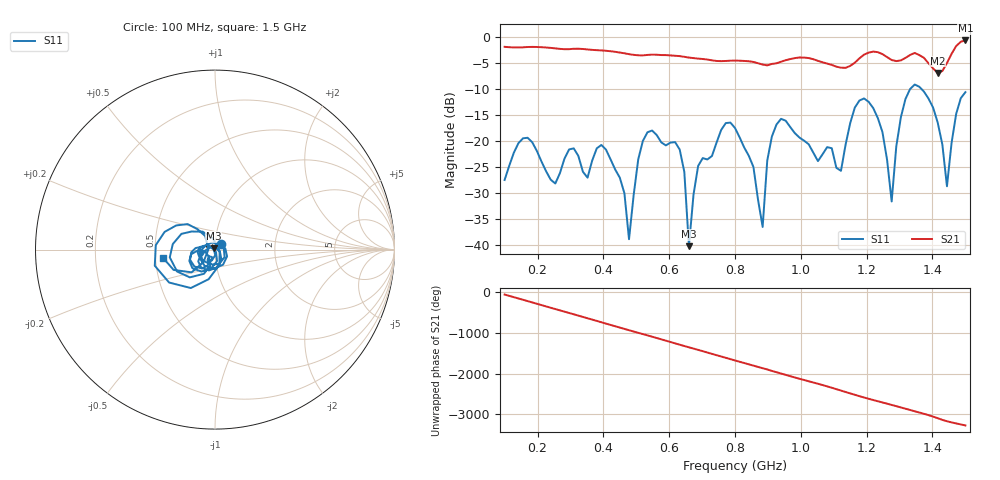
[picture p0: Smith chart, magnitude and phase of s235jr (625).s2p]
! NanoVNA-App
! Date: 2025-09-25 15:09:02
! Start: 100MHz Stop: 1,5GHz Points: 101
! S-Parameter data: F S11 S21 S12 S22
# Hz S RI R 50
!  Frequency  S11_Real  S11_Imag  S21_Real  S21_Imag  S12_Real  S12_Imag  S22_Real  S22_Imag
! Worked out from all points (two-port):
!   101 points, 100 MHz to 1.5 GHz, reference 50 ohm
!   highest |S21| = -0.74 dB at 1.5 GHz (marker M1); lowest = -7.0 dB at 1.416 GHz (marker M2)
!   |S21| within 3 dB of the highest: start of sweep to 632.3 MHz; 1.186 GHz to 1.257 GHz (70.95 MHz wide, 5.81 % of centre) (the widest 2 of 4)
!   lowest |S11| = -40.1 dB at 660 MHz (marker M3), VSWR 1.02, Z = 49.3 + j0.638 ohm
!   |S11| at or under -10 dB: start of sweep to 1.333 GHz; 1.366 GHz to end of sweep
!   S12 and S22 are empty: the file has one direction only
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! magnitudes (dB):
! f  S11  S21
! 100 MHz  -27.5  -2.0
! 170 MHz  -19.4  -2.0
! 338 MHz  -25.9  -2.4
! 408 MHz  -21.6  -2.7
! 478 MHz  -38.8  -3.4
! 520 MHz  -20.0  -3.6
! 576 MHz  -20.3  -3.5
! 632 MHz  -21.6  -3.7
! 660 MHz  -40.1  -4.0
! 688 MHz  -24.8  -4.2
! 800 MHz  -17.5  -4.6
! 884 MHz  -36.5  -5.4
! 926 MHz  -16.9  -5.1
! 1.038 GHz  -22.2  -4.3
! 1.122 GHz  -25.7  -6.0
! 1.192 GHz  -11.8  -3.5
! 1.248 GHz  -18.3  -3.4
! 1.276 GHz  -31.6  -4.5
! 1.332 GHz  -10.0  -3.5
! 1.416 GHz  -16.5  -7.0
! 1.444 GHz  -28.7  -5.1
! 1.5 GHz  -10.6  -0.7
